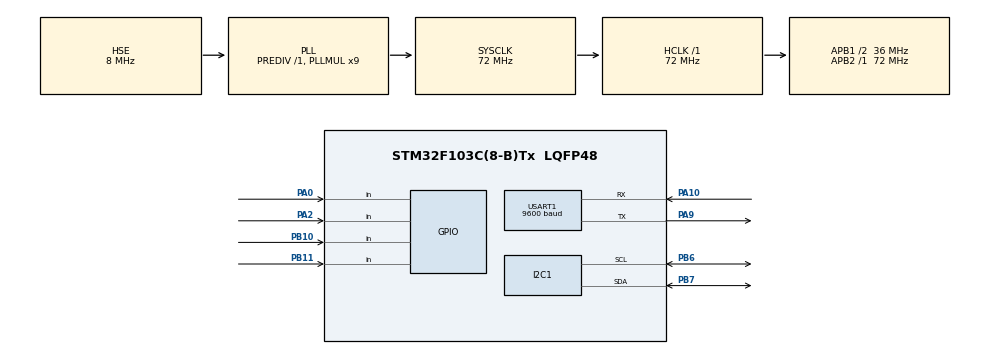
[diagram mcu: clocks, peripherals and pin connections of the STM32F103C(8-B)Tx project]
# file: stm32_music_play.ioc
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Mcu.Family=STM32F1
Mcu.Name=STM32F103C(8-B)Tx
Mcu.Package=LQFP48
NVIC.PriorityGroup=NVIC_PRIORITYGROUP_4
NVIC.USART1_IRQn=true\:0\:0\:false\:false\:true\:true\:true\:true
PA0-WKUP.GPIO_PuPd=GPIO_PULLUP
PA0-WKUP.Signal=GPIO_Input
PA10.Mode=Asynchronous
PA10.Signal=USART1_RX
PA13.Mode=Serial_Wire
PA13.Signal=SYS_JTMS-SWDIO
PA14.Mode=Serial_Wire
PA14.Signal=SYS_JTCK-SWCLK
PA2.GPIO_PuPd=GPIO_PULLUP
PA2.Signal=GPIO_Input
PA9.Mode=Asynchronous
PA9.Signal=USART1_TX
PB10.GPIO_PuPd=GPIO_PULLUP
PB10.Signal=GPIO_Input
PB11.GPIO_PuPd=GPIO_PULLUP
PB11.Signal=GPIO_Input
PB6.Mode=I2C
PB6.Signal=I2C1_SCL
PB7.Mode=I2C
PB7.Signal=I2C1_SDA
PD0-OSC_IN.Mode=HSE-External-Oscillator
PD0-OSC_IN.Signal=RCC_OSC_IN
PD1-OSC_OUT.Mode=HSE-External-Oscillator
PD1-OSC_OUT.Signal=RCC_OSC_OUT
ProjectManager.HeapSize=0x200
ProjectManager.StackSize=0x400
ProjectManager.TargetToolchain=MDK-ARM V5.32
RCC.AHBFreq_Value=72000000
RCC.APB1CLKDivider=RCC_HCLK_DIV2
RCC.APB1Freq_Value=36000000
RCC.APB1TimFreq_Value=72000000
RCC.APB2Freq_Value=72000000
RCC.APB2TimFreq_Value=72000000
RCC.HCLKFreq_Value=72000000
RCC.PLLMUL=RCC_PLL_MUL9
RCC.PLLSourceVirtual=RCC_PLLSOURCE_HSE
RCC.SYSCLKFreq_VALUE=72000000
RCC.SYSCLKSource=RCC_SYSCLKSOURCE_PLLCLK
RCC.USBFreq_Value=72000000
USART1.BaudRate=9600
USART1.VirtualMode=VM_ASYNC
board=custom

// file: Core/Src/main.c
/* USER CODE BEGIN Header */
/**
  ******************************************************************************
  * @file           : main.c
  * @brief          : Main program body
  ******************************************************************************
  * @attention
  *
  * Copyright (c) 2026 STMicroelectronics.
  * All rights reserved.
  *
  * This software is licensed under terms that can be found in the LICENSE file
  * in the root directory of this software component.
  * If no LICENSE file comes with this software, it is provided AS-IS.
  *
  ******************************************************************************
  */
/* USER CODE END Header */
#include "main.h"
#include "OLED_IIC_Config.h"
#include "OLED_Function.h"
#include "OLED_Front.h"

I2C_HandleTypeDef hi2c1;

UART_HandleTypeDef huart1;

/* USER CODE BEGIN PV */
uint8_t Date1[] = {0x7E, 0xFF, 0x06, 0x09, 0x00, 0x00, 0x02, 0xEF};	//选择SD卡
uint8_t Date2[] = {0x7E, 0xFF, 0x06, 0x0F, 0x00, 0x01, 0x01, 0xEF};	//选择01文件夹内的第一首
uint8_t Date3[] = {0x7E, 0xFF, 0x06, 0x06, 0x00, 0x00, 0x11, 0xEF};	//调节音量为，最大为30
uint8_t Date4[] = {0x7E, 0xFF, 0x06, 0x0D, 0x00, 0x00, 0x00, 0xEF};	//开始播放
uint8_t Date5[] = {0x7E, 0xFF, 0x06, 0x01, 0x00, 0x00, 0x00, 0xEF};	//上一首
uint8_t Date6[] = {0x7E, 0xFF, 0x06, 0x02, 0x00, 0x00, 0x00, 0xEF};  //下一首
uint8_t Date7[] = {0x7E, 0xFF, 0x06, 0x17, 0x00, 0x01, 0x02, 0xEF};  //文件夹01循环播放
uint8_t Date8[] = {0x7E, 0xFF, 0x06, 0x04, 0x00, 0x00, 0x00, 0xEF};  //提高音量
uint8_t Date9[] = {0x7E, 0xFF, 0x06, 0x05, 0x00, 0x00, 0x00, 0xEF};  //降低音量
uint8_t Date10[] = {0x7E, 0xFF, 0x06, 0x0E, 0x00, 0x00, 0x00, 0xEF};  //暂停播放
uint8_t Date11[] = {0x7E, 0xFF, 0x06, 0x0C, 0x00, 0x00, 0x00, 0xEF}; //芯片重置
uint8_t key_old[] = {0x01,0x01,0x01,0x01};//4个按键状态缓存
uint8_t key_new[] = {0x01,0x01,0x01,0x01};//4个按键状态缓存
uint8_t Date_Volume[8] = {0x7E, 0xFF, 0x06, 0x06, 0x00, 0x00, 0x09, 0xEF};
uint8_t Date_Music[8]  = {0x7E, 0xFF, 0x06, 0x03, 0x00, 0x00, 0x01, 0xEF};

uint8_t Volume=0x11;				//音量
uint8_t Music=0x01;					//当前音乐
static uint8_t Play=0x00;		//播放标志位,0x00是未播放，0x01是播放
uint8_t i=0;								//临时变量
/* USER CODE END PV */

void SystemClock_Config(void);
static void MX_GPIO_Init(void);
static void MX_USART1_UART_Init(void);
static void MX_I2C1_Init(void);

/* USER CODE BEGIN 0 */
void USART1_Volume_Update(uint8_t Volume){
	Date_Volume[6] = Volume;
	HAL_UART_Transmit_IT(&huart1,Date_Volume,(sizeof(Date_Volume)/sizeof(Date_Volume[0])));
}

void USART1_Music_Update(uint8_t Music){
	Date_Music[6] = Music;
	HAL_UART_Transmit_IT(&huart1,Date_Music,(sizeof(Date_Music)/sizeof(Date_Music[0])));
//	HAL_Delay(100);
//	HAL_UART_Transmit_IT(&huart1,Date4,(sizeof(Date4)/sizeof(Date4[0])));//开始播放
}
/* USER CODE END 0 */

int main(void)
{

  /* MCU Configuration--------------------------------------------------------*/

  /* Reset of all peripherals, Initializes the Flash interface and the Systick. */
  HAL_Init();

  /* Configure the system clock */
  SystemClock_Config();

  /* Initialize all configured peripherals */
  MX_GPIO_Init();
  MX_USART1_UART_Init();
  MX_I2C1_Init();

  /* USER CODE BEGIN 2 */
	OLED_Init();  //OLED初始化

	//音乐播放模块初始化(加一点延时给反应时间)
	HAL_UART_Transmit_IT(&huart1,Date11,(sizeof(Date11)/sizeof(Date11[0])));//播放器重启
	HAL_Delay(300);
	HAL_UART_Transmit_IT(&huart1,Date1,(sizeof(Date1)/sizeof(Date1[0])));//选择SD卡
	HAL_Delay(100);
	HAL_UART_Transmit_IT(&huart1,Date2,(sizeof(Date2)/sizeof(Date2[0])));//选择01文件夹内的第一首
	HAL_Delay(100);
  HAL_UART_Transmit_IT(&huart1,Date7,(sizeof(Date7)/sizeof(Date7[0])));//循环播放:
	HAL_Delay(200);
	HAL_UART_Transmit_IT(&huart1,Date3,(sizeof(Date3)/sizeof(Date3[0])));//调节音量为，最大为30
	HAL_Delay(100);
	HAL_UART_Transmit_IT(&huart1,Date3,(sizeof(Date3)/sizeof(Date3[0])));//调节音量为，最大为30
	HAL_Delay(100);
	HAL_UART_Transmit_IT(&huart1,Date3,(sizeof(Date3)/sizeof(Date3[0])));//调节音量为，最大为30
	HAL_Delay(100);
	Play=0x00;

	//初始化音量显示
	OLED_ShowChinese(27,1,(unsigned char*)"：");
	OLED_ShowChinese(0,1,(unsigned char*)"音");
	OLED_ShowChinese(13,1,(unsigned char*)"量");
  OLED_ShowVolumeBar(34, 5, Volume, 30);
	OLED_ShowNum(97,1,Volume,2,2);

	//歌曲名显示部分
//	OLED_DrawBox(0,29,130,18,1);

	OLED_DrawBox(13,56,100,4,2);	//进度条
	OLED_PlayPauseIcon(55,48,0);	//播放键

	Show_Music_Name(16,24,1);			//歌曲名显示

  /* USER CODE END 2 */

  /* Infinite loop */
  /* USER CODE BEGIN WHILE */
  while (1)
  {
    //按键1:上一首
		key_old[0]=key_new[0];
		key_new[0]=HAL_GPIO_ReadPin(GPIOB,GPIO_PIN_11);
		if(key_new[0]!=key_old[0]){

			if(key_new[0] == 0){				//按下时
				//播放上一首:
				if(Music>0)Music--;
        USART1_Music_Update(Music);
				Show_Music_Name(16,24,Music);
			}else if(key_new[0] == 1){	//松开时
				if(Play == 0x00){
					HAL_UART_Transmit_IT(&huart1,Date4,(sizeof(Date4)/sizeof(Date4[0])));//开始播放
					Play=0x01;							//置位为1表示开始播放
					OLED_PlayPauseIcon(55,48,1);//刷新播放ui
				}
			}
      HAL_Delay(10);              //简单消抖
		}

    //按键2：下一首
    key_old[1]=key_new[1];
    key_new[1]=HAL_GPIO_ReadPin(GPIOB,GPIO_PIN_10);
    if(key_new[1]!=key_old[1]){

			if(key_new[1] == 0){				//按下时
				//播放下一首:
        if(Music<15)Music++;
        USART1_Music_Update(Music);
				Show_Music_Name(16,24,Music);
			}else if(key_new[1] == 1){	//松开时
				if(Play == 0x00){
					HAL_UART_Transmit_IT(&huart1,Date4,(sizeof(Date4)/sizeof(Date4[0])));//开始播放
					Play=0x01;							//置位为1表示开始播放
					OLED_PlayPauseIcon(55,48,1);//刷新播放ui

				}
			}
      HAL_Delay(10);              //简单消抖
		}

    //按键3：音量减
    key_old[2]=key_new[2];
    key_new[2]=HAL_GPIO_ReadPin(GPIOA,GPIO_PIN_2);
    if(key_new[2]!=key_old[2]){
      if(key_new[2] == 0){        //按下时

      }else if(key_new[2] == 1){ //松开时
        //音量加:
				if(Volume>0)Volume--;
        USART1_Volume_Update(Volume);
				//更新显示
				OLED_ShowVolumeBar(34, 5, Volume, 30);
				OLED_ShowNum(97,1,Volume,2,2);
      }
      HAL_Delay(10);              //简单消抖
    }

    //按键4：音量加
    key_old[3]=key_new[3];
    key_new[3]=HAL_GPIO_ReadPin(GPIOA,GPIO_PIN_0);
    if(key_new[3]!=key_old[3]){
      if(key_new[3] == 0){        //按下时

      }else if(key_new[3] == 1){ //松开时
        //音量减:
				if(Volume<30)Volume++;
        USART1_Volume_Update(Volume);
				//更新显示
				OLED_ShowVolumeBar(34, 5, Volume, 30);
				OLED_ShowNum(97,1,Volume,2,2);
      }
      HAL_Delay(10);              //简单消抖
    }

    /* USER CODE END WHILE */

  }
}

void SystemClock_Config(void)
{
  RCC_OscInitTypeDef RCC_OscInitStruct = {0};
  RCC_ClkInitTypeDef RCC_ClkInitStruct = {0};

  /** Initializes the RCC Oscillators according to the specified parameters
  * in the RCC_OscInitTypeDef structure.
  */
  RCC_OscInitStruct.OscillatorType = RCC_OSCILLATORTYPE_HSE;
  RCC_OscInitStruct.HSEState = RCC_HSE_ON;
  RCC_OscInitStruct.HSEPredivValue = RCC_HSE_PREDIV_DIV1;
  RCC_OscInitStruct.HSIState = RCC_HSI_ON;
  RCC_OscInitStruct.PLL.PLLState = RCC_PLL_ON;
  RCC_OscInitStruct.PLL.PLLSource = RCC_PLLSOURCE_HSE;
  RCC_OscInitStruct.PLL.PLLMUL = RCC_PLL_MUL9;
  if (HAL_RCC_OscConfig(&RCC_OscInitStruct) != HAL_OK)
  {
    Error_Handler();
  }

  /** Initializes the CPU, AHB and APB buses clocks
  */
  RCC_ClkInitStruct.ClockType = RCC_CLOCKTYPE_HCLK|RCC_CLOCKTYPE_SYSCLK
                              |RCC_CLOCKTYPE_PCLK1|RCC_CLOCKTYPE_PCLK2;
  RCC_ClkInitStruct.SYSCLKSource = RCC_SYSCLKSOURCE_PLLCLK;
  RCC_ClkInitStruct.AHBCLKDivider = RCC_SYSCLK_DIV1;
  RCC_ClkInitStruct.APB1CLKDivider = RCC_HCLK_DIV2;
  RCC_ClkInitStruct.APB2CLKDivider = RCC_HCLK_DIV1;

  if (HAL_RCC_ClockConfig(&RCC_ClkInitStruct, FLASH_LATENCY_2) != HAL_OK)
  {
    Error_Handler();
  }
}

static void MX_I2C1_Init(void)
{

  hi2c1.Instance = I2C1;
  hi2c1.Init.ClockSpeed = 100000;
  hi2c1.Init.DutyCycle = I2C_DUTYCYCLE_2;
  hi2c1.Init.OwnAddress1 = 0;
  hi2c1.Init.AddressingMode = I2C_ADDRESSINGMODE_7BIT;
  hi2c1.Init.DualAddressMode = I2C_DUALADDRESS_DISABLE;
  hi2c1.Init.OwnAddress2 = 0;
  hi2c1.Init.GeneralCallMode = I2C_GENERALCALL_DISABLE;
  hi2c1.Init.NoStretchMode = I2C_NOSTRETCH_DISABLE;
  if (HAL_I2C_Init(&hi2c1) != HAL_OK)
  {
    Error_Handler();
  }

}

static void MX_USART1_UART_Init(void)
{

  huart1.Instance = USART1;
  huart1.Init.BaudRate = 9600;
  huart1.Init.WordLength = UART_WORDLENGTH_8B;
  huart1.Init.StopBits = UART_STOPBITS_1;
  huart1.Init.Parity = UART_PARITY_NONE;
  huart1.Init.Mode = UART_MODE_TX_RX;
  huart1.Init.HwFlowCtl = UART_HWCONTROL_NONE;
  huart1.Init.OverSampling = UART_OVERSAMPLING_16;
  if (HAL_UART_Init(&huart1) != HAL_OK)
  {
    Error_Handler();
  }

}

static void MX_GPIO_Init(void)
{
  GPIO_InitTypeDef GPIO_InitStruct = {0};

  /* GPIO Ports Clock Enable */
  __HAL_RCC_GPIOD_CLK_ENABLE();
  __HAL_RCC_GPIOA_CLK_ENABLE();
  __HAL_RCC_GPIOB_CLK_ENABLE();

  /*Configure GPIO pins : PA0 PA2 */
  GPIO_InitStruct.Pin = GPIO_PIN_0|GPIO_PIN_2;
  GPIO_InitStruct.Mode = GPIO_MODE_INPUT;
  GPIO_InitStruct.Pull = GPIO_PULLUP;
  HAL_GPIO_Init(GPIOA, &GPIO_InitStruct);

  /*Configure GPIO pins : PB10 PB11 */
  GPIO_InitStruct.Pin = GPIO_PIN_10|GPIO_PIN_11;
  GPIO_InitStruct.Mode = GPIO_MODE_INPUT;
  GPIO_InitStruct.Pull = GPIO_PULLUP;
  HAL_GPIO_Init(GPIOB, &GPIO_InitStruct);

}

void Error_Handler(void)
{
  __disable_irq();
  while (1)
  {
  }
}
